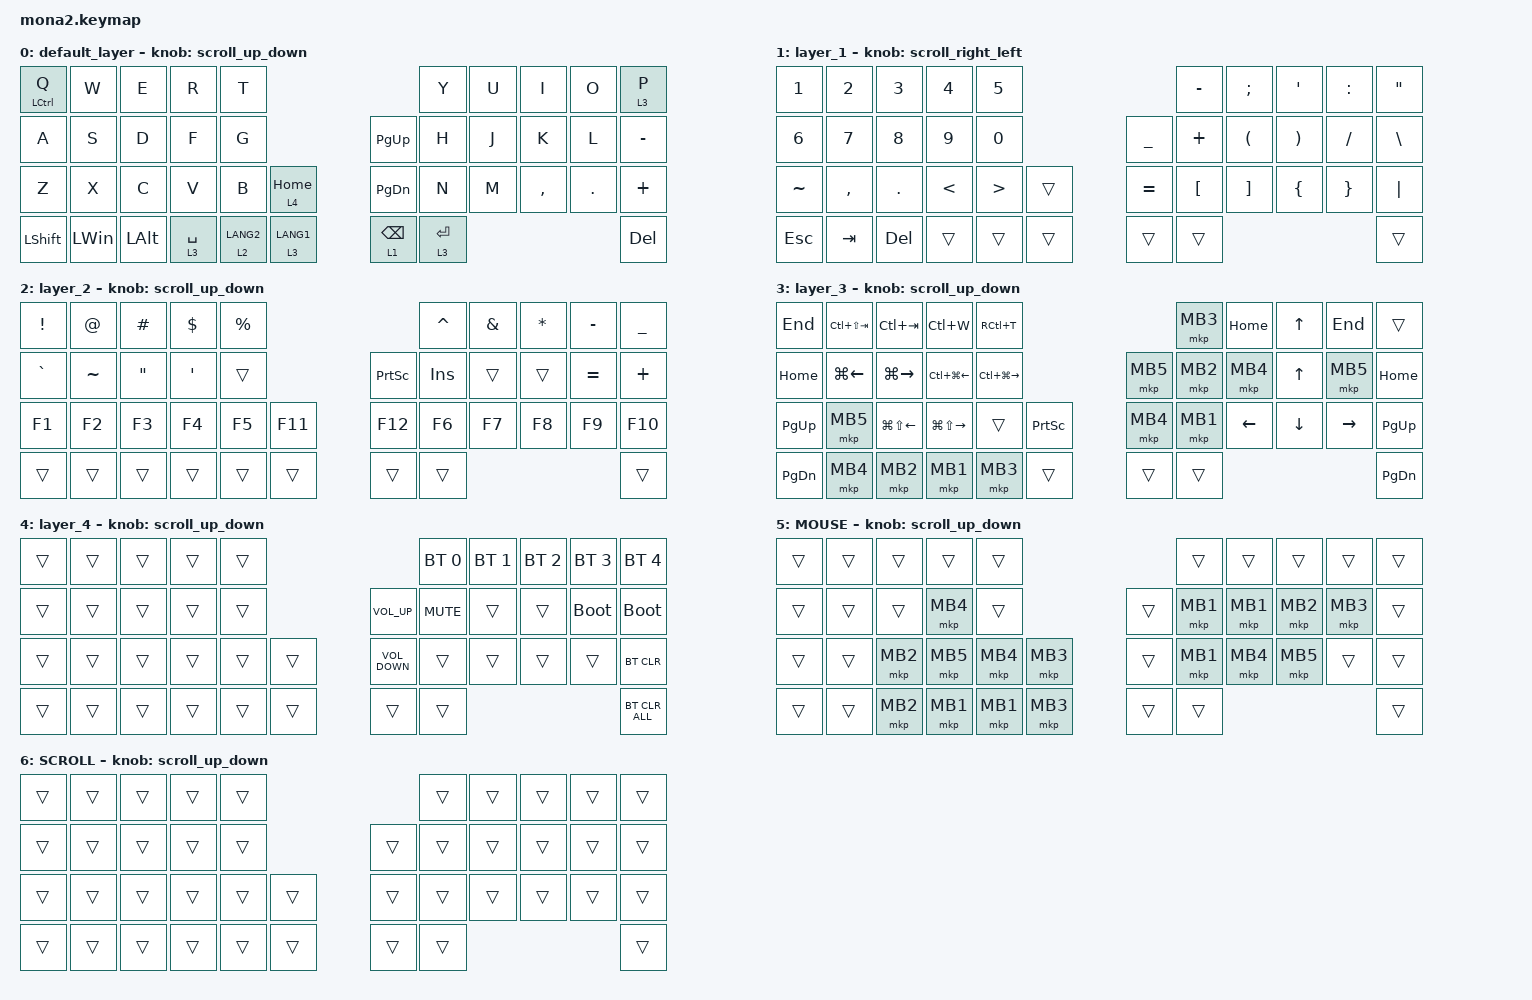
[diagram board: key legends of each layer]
#include <input/processors.dtsi>
#include <dt-bindings/zmk/input_transform.h>
#include <zephyr/dt-bindings/input/input-event-codes.h>
#include <behaviors.dtsi>
#include <dt-bindings/zmk/bt.h>
#include <dt-bindings/zmk/keys.h>
#include <dt-bindings/zmk/pointing.h>

#define ZMK_POINTING_DEFAULT_SCRL_VAL 100
#define MOUSE 5
#define SCROLL 6

&mt {
    flavor = "balanced";
    quick-tap-ms = <0>;
};

&lt {
    quick-tap-ms = <300>;
    flavor = "balanced";
};

/ {
    combos {
        compatible = "zmk,combos";

        layer4_ESC {
            bindings = <&lt 4 ESC>;
            key-positions = <39 38>;
        };

        tab {
            bindings = <&kp TAB>;
            key-positions = <11 12>;
        };
    };

    macros {
        to_layer_0: to_layer_0 {
            compatible = "zmk,behavior-macro-one-param";
            #binding-cells = <1>;
            bindings = <&to 0 &macro_param_1to1 &kp MACRO_PLACEHOLDER>;
            label = "TO_LAYER_0";
        };
    };

    behaviors {
        lt_to_layer_0: lt_to_layer_0 {
            compatible = "zmk,behavior-hold-tap";
            label = "LAYER_TAP_TO_0";
            bindings = <&mo>, <&to_layer_0>;

            #binding-cells = <2>;
            tapping-term-ms = <200>;
        };

        scroll_up_down: mouse_wheel_up_down {
            compatible = "zmk,behavior-sensor-rotate";
            #sensor-binding-cells = <0>;
            bindings = <&msc SCRL_DOWN>, <&msc SCRL_UP>;

            tap-ms = <20>;
        };

        scroll_right_left: mouse_wheel_right_left {
            compatible = "zmk,behavior-sensor-rotate";
            #sensor-binding-cells = <0>;
            bindings = <&msc SCRL_LEFT>, <&msc SCRL_RIGHT>;

            tap-ms = <20>;
        };
    };

    keymap {
        compatible = "zmk,keymap";

        default_layer {
            bindings = <
&mt LCTRL Q     &kp W         &kp E         &kp R        &kp T                                                              &kp Y        &kp U  &kp I      &kp O    &lt 3 P
&kp A           &kp S         &kp D         &kp F        &kp G                                  &kp PAGE_UP                 &kp H        &kp J  &kp K      &kp L    &kp MINUS
&kp Z           &kp X         &kp C         &kp V        &kp B        &lt 4 HOME                &kp PAGE_DOWN               &kp N        &kp M  &kp COMMA  &kp DOT  &kp PLUS
&kp LEFT_SHIFT  &kp LEFT_WIN  &kp LEFT_ALT  &lt 3 SPACE  &lt 2 LANG2  &lt_to_layer_0 3 LANG1    &lt_to_layer_0 1 BACKSPACE  &lt 3 ENTER                             &kp DEL
            >;

            sensor-bindings = <&scroll_up_down>;
        };

        layer_1 {
            bindings = <
&kp NUMBER_1  &kp NUMBER_2  &kp NUMBER_3  &kp NUMBER_4   &kp NUMBER_5                                &kp MINUS         &kp SEMICOLON         &kp SQT                &kp COLON        &kp DOUBLE_QUOTES
&kp N6        &kp N7        &kp N8        &kp N9         &kp N0                      &kp UNDERSCORE  &kp PLUS          &kp LEFT_PARENTHESIS  &kp RIGHT_PARENTHESIS  &kp SLASH        &kp BACKSLASH
&kp TILDE     &kp COMMA     &kp PERIOD    &kp LESS_THAN  &kp GREATER_THAN  &trans    &kp EQUAL       &kp LEFT_BRACKET  &kp RIGHT_BRACKET     &kp LEFT_BRACE         &kp RIGHT_BRACE  &kp PIPE
&kp ESC       &kp TAB       &kp DEL       &trans         &trans            &trans    &trans          &trans                                                                          &trans
            >;

            sensor-bindings = <&scroll_right_left>;
        };

        layer_2 {
            bindings = <
&kp EXCLAMATION  &kp AT_SIGN  &kp POUND          &kp DOLLAR  &kp PERCENT                              &kp CARET   &kp AMPERSAND  &kp ASTERISK  &kp MINUS  &kp UNDERSCORE
&kp GRAVE        &kp TILDE    &kp DOUBLE_QUOTES  &kp SQT     &trans                  &kp PRINTSCREEN  &kp INSERT  &trans         &trans        &kp EQUAL  &kp PLUS
&kp F1           &kp F2       &kp F3             &kp F4      &kp F5       &kp F11    &kp F12          &kp F6      &kp F7         &kp F8        &kp F9     &kp F10
&trans           &trans       &trans             &trans      &trans       &trans     &trans           &trans                                              &trans
            >;

            sensor-bindings = <&scroll_up_down>;
        };

        layer_3 {
            bindings = <
&kp END        &kp LC(LS(TAB))     &kp LC(TAB)             &kp LC(W)                &kp RC(T)                                       &mkp MB3  &kp HOME        &kp UP_ARROW    &kp END          &trans
&kp HOME       &kp LG(LEFT_ARROW)  &kp LG(RIGHT_ARROW)     &kp LC(LG(LEFT_ARROW))   &kp LC(LG(RIGHT_ARROW))               &mkp MB5  &mkp MB2  &mkp MB4        &kp UP_ARROW    &mkp MB5         &kp HOME
&kp PG_UP      &mkp MB5            &kp LG(LS(LEFT_ARROW))  &kp LG(LS(RIGHT_ARROW))  &trans                   &kp PSCRN    &mkp MB4  &mkp MB1  &kp LEFT_ARROW  &kp DOWN_ARROW  &kp RIGHT_ARROW  &kp PAGE_UP
&kp PAGE_DOWN  &mkp MB4            &mkp MB2                &mkp MB1                 &mkp MB3                 &trans       &trans    &trans                                                     &kp PAGE_DOWN
            >;

            sensor-bindings = <&scroll_up_down>;
        };

        layer_4 {
            bindings = <
&trans  &trans  &trans  &trans  &trans                               &bt BT_SEL 0  &bt BT_SEL 1  &bt BT_SEL 2  &bt BT_SEL 3  &bt BT_SEL 4
&trans  &trans  &trans  &trans  &trans            &kp C_VOL_UP       &kp K_MUTE    &trans        &trans        &bootloader   &bootloader
&trans  &trans  &trans  &trans  &trans  &trans    &kp C_VOLUME_DOWN  &trans        &trans        &trans        &trans        &bt BT_CLR
&trans  &trans  &trans  &trans  &trans  &trans    &trans             &trans                                                  &bt BT_CLR_ALL
            >;

            sensor-bindings = <&scroll_up_down>;
        };

        MOUSE {
            bindings = <
&trans  &trans  &trans    &trans    &trans                        &trans    &trans    &trans    &trans    &trans
&trans  &trans  &trans    &mkp MB4  &trans                &trans  &mkp MB1  &mkp MB1  &mkp MB2  &mkp MB3  &trans
&trans  &trans  &mkp MB2  &mkp MB5  &mkp MB4  &mkp MB3    &trans  &mkp MB1  &mkp MB4  &mkp MB5  &trans    &trans
&trans  &trans  &mkp MB2  &mkp MB1  &mkp MB1  &mkp MB3    &trans  &trans                                  &trans
            >;

            sensor-bindings = <&scroll_up_down>;
        };

        SCROLL {
            bindings = <
&trans  &trans  &trans  &trans  &trans                    &trans  &trans  &trans  &trans  &trans
&trans  &trans  &trans  &trans  &trans            &trans  &trans  &trans  &trans  &trans  &trans
&trans  &trans  &trans  &trans  &trans  &trans    &trans  &trans  &trans  &trans  &trans  &trans
&trans  &trans  &trans  &trans  &trans  &trans    &trans  &trans                          &trans
            >;

            sensor-bindings = <&scroll_up_down>;
        };
    };
};
